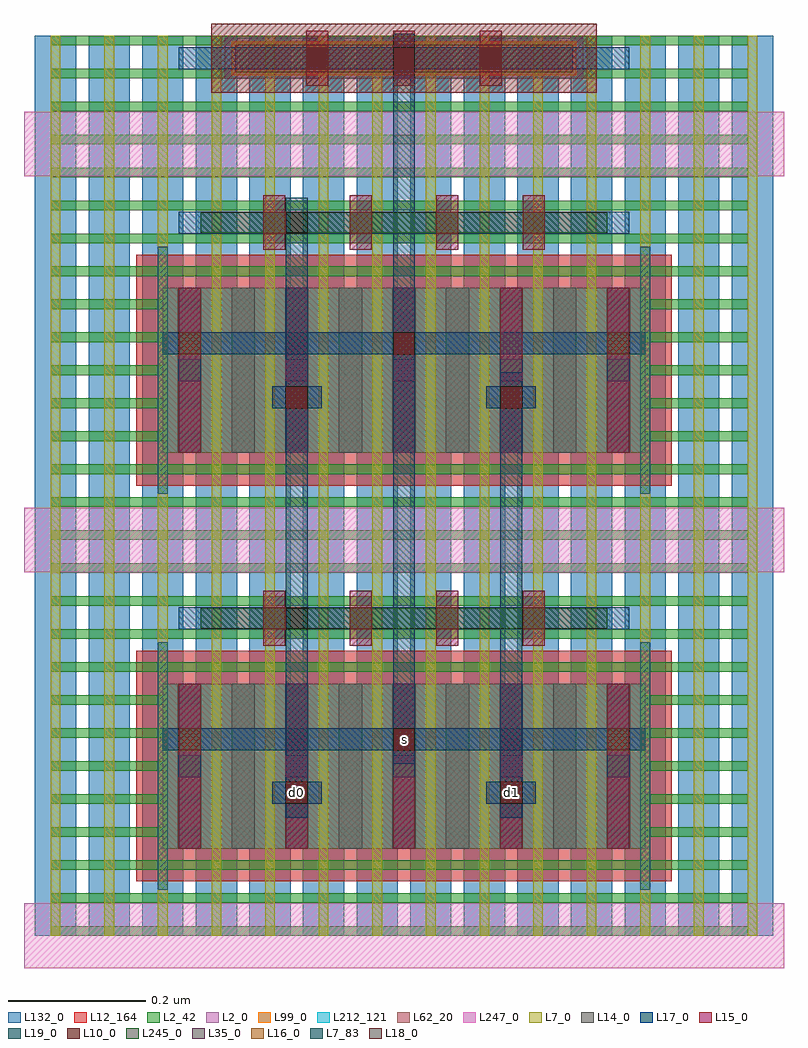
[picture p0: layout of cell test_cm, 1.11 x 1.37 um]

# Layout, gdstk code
import gdstk
lib = gdstk.Library(unit=1e-6, precision=1e-12)
def R(c, l, rs):  # rectangles x0, y0, x1, y1
    for r in rs: c.add(gdstk.rectangle(r[:2], r[2:], *l))
def A(c, l, x, y, w, h, nx, ny, dx, dy):  # array of equal rectangles
    R(c, l, [(x+i*dx, y+j*dy, x+i*dx+w, y+j*dy+h) for i in range(nx) for j in range(ny)])
L2_0 = (2, 0)
L2_42 = (2, 42)
L7_0 = (7, 0)
L7_83 = (7, 83)
L10_0 = (10, 0)
L12_164 = (12, 164)
L14_0 = (14, 0)
L15_0 = (15, 0)
L16_0 = (16, 0)
L17_0 = (17, 0)
L18_0 = (18, 0)
L19_0 = (19, 0)
L35_0 = (35, 0)
L62_20 = (62, 20)
L99_0 = (99, 0)
L132_0 = (132, 0)
L212_121 = (212, 121)
L245_0 = (245, 0)
L247_0 = (247, 0)

test_cm = lib.new_cell('test_cm')
R(test_cm, L2_0, [(0.186,0.127,0.888,0.367), (0.186,0.703,0.888,0.943), (0.2762,1.247,0.7978,1.307)])
A(test_cm, L2_42, 0.023, 0, 1.014, 0.014, 1, 28, 0, 0.048)
A(test_cm, L7_0, 0.023, 0, 0.014, 1.31, 14, 1, 0.078, 0)
R(test_cm, L7_83, [(0.179,0.067,0.193,0.427), (0.881,0.067,0.895,0.427), (0.179,0.643,0.193,1.003), (0.881,0.643,0.895,1.003)])
R(test_cm, L10_0, [(0.2562,1.227,0.8178,1.327)])
R(test_cm, L12_164, [(0.147,0.079,0.927,0.415), (0.147,0.655,0.927,0.991)])
A(test_cm, L14_0, 0.208, 0.127, 0.034, 0.24, 9, 2, 0.078, 0.576)
R(test_cm, L14_0, [(0.2912,1.257,0.7828,1.297)])
A(test_cm, L15_0, 0.209, 0.127, 0.032, 0.24, 5, 2, 0.156, 0.576)
A(test_cm, L15_0, 0.332, 0.422, 0.032, 0.08, 4, 2, 0.126, 0.576)
A(test_cm, L15_0, 0.395, 1.237, 0.032, 0.08, 3, 1, 0.126, 0)
A(test_cm, L16_0, 0.209, 0.27, 0.032, 0.032, 3, 2, 0.312, 0.576)
A(test_cm, L16_0, 0.332, 0.446, 0.032, 0.032, 4, 2, 0.126, 0.576)
A(test_cm, L16_0, 0.395, 1.261, 0.032, 0.032, 3, 1, 0.126, 0)
R(test_cm, L16_0, [(0.365,0.192,0.397,0.224), (0.677,0.192,0.709,0.224), (0.365,0.768,0.397,0.8), (0.677,0.768,0.709,0.8)])
R(test_cm, L17_0, [(0.345,0.192,0.417,0.224), (0.657,0.192,0.729,0.224), (0.186,0.27,0.888,0.302), (0.209,0.446,0.865,0.478), (0.345,0.768,0.417,0.8), (0.657,0.768,0.729,0.8), (0.186,0.846,0.888,0.878), (0.209,1.022,0.865,1.054), (0.209,1.261,0.865,1.293)])
R(test_cm, L18_0, [(0.365,0.192,0.397,0.224), (0.677,0.192,0.709,0.224), (0.521,0.27,0.553,0.302), (0.365,0.446,0.397,0.478), (0.365,0.768,0.397,0.8), (0.677,0.768,0.709,0.8), (0.521,0.846,0.553,0.878), (0.365,1.022,0.397,1.054), (0.521,1.261,0.553,1.293)])
R(test_cm, L19_0, [(0.365,0.172,0.397,1.074), (0.677,0.172,0.709,0.82), (0.521,0.25,0.553,1.313)])
A(test_cm, L35_0, 0.209, 0.231, 0.032, 0.032, 5, 2, 0.156, 0.576)
A(test_cm, L35_0, 0.332, 0.446, 0.032, 0.032, 4, 2, 0.126, 0.576)
A(test_cm, L35_0, 0.395, 1.261, 0.032, 0.032, 3, 1, 0.126, 0)
R(test_cm, L62_20, [(0.186,0.127,0.888,0.367), (0.186,0.703,0.888,0.943)])
R(test_cm, L99_0, [(0.186,0.127,0.888,0.367), (0.186,0.703,0.888,0.943), (0.2862,1.252,0.7878,1.302)])
A(test_cm, L132_0, 0, 0, 0.06, 1.31, 14, 1, 0.078, 0)
R(test_cm, L212_121, [(0.186,0.127,0.888,0.367), (0.186,0.703,0.888,0.943)])
R(test_cm, L245_0, [(0.241,0.447,0.833,0.477), (0.241,1.023,0.833,1.053)])
A(test_cm, L247_0, -0.016, -0.047, 1.106, 0.094, 1, 3, 0, 0.576)
test_cm.add(gdstk.Label('s', (0.537,0.286), layer=16, texttype=20))
test_cm.add(gdstk.Label('d1', (0.693,0.208), layer=16, texttype=20))
test_cm.add(gdstk.Label('d0', (0.381,0.208), layer=16, texttype=20))

lib.write_gds('test_cm.gds')
